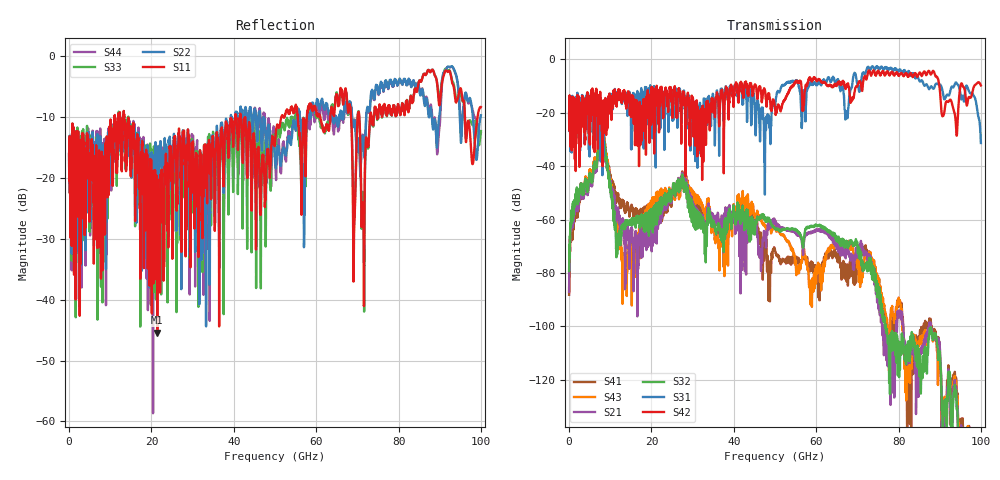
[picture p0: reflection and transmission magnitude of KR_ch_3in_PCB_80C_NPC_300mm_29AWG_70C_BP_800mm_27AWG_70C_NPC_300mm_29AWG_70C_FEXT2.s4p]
# GHz S RI R 45
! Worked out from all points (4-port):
!   4000 points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, 25 MHz to 100 GHz, reference 45 ohm
!   strongest paths, dB at 25 MHz, 25.02 GHz, 50.02 GHz, 75.03 GHz, 100 GHz:
!     S42: -20.0, -17.9, -18.0, -4.4, -9.7
!     S31: -20.0, -13.6, -17.0, -3.0, -31.3
!     S32: -79.3, -50.1, -63.6, -85.0, -160.7
!     S21: -87.1, -51.0, -61.4, -87.6, -162.6
!     S43: -87.1, -49.8, -63.3, -81.7, -155.8
!     S41: -88.2, -52.6, -71.5, -83.6, -155.1
!   lowest |S11| = -45.4 dB at 21.43 GHz (marker M1), VSWR 1.01, Z = 44.6 + j0.276 ohm
!   |S11| at or under -10 dB: start of sweep to 11.05 GHz; 13.38 GHz to 40.37 GHz (26.98 GHz wide, 100 % of centre); 42.78 GHz to 51.51 GHz (8.73 GHz wide, 18.5 % of centre)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
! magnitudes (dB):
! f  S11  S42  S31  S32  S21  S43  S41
! 25 MHz  -16.0  -20.0  -20.0  -79.3  -87.1  -87.1  -88.2
! 8.1 GHz  -22.2  -22.7  -43.4  -27.8  -29.7  -26.5  -28.3
! 13.25 GHz  -10.2  -13.1  -14.6  -62.3  -61.9  -75.2  -54.1
! 21.43 GHz  -45.4  -16.6  -19.8  -53.9  -56.8  -50.0  -53.3
! 27.62 GHz  -12.8  -12.1  -13.2  -47.2  -46.1  -47.4  -45.4
! 76.92 GHz  -9.4  -5.4  -2.8  -100.4  -104.0  -95.6  -97.8
! 100 GHz  -8.3  -9.7  -31.3  -160.7  -162.6  -155.8  -155.1
